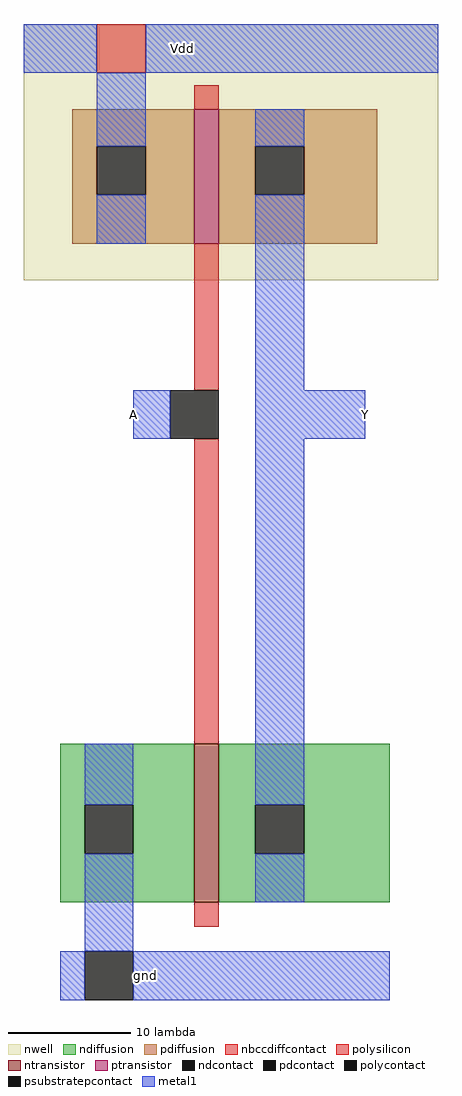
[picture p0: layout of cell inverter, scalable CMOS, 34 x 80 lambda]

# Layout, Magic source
magic
tech scmos
<< nwell >>
rect -12 2 22 23
<< polysilicon >>
rect 2 16 4 18
rect 2 -7 4 5
rect 2 -36 4 -11
rect 2 -51 4 -49
<< ndiffusion >>
rect -9 -41 2 -36
rect -9 -45 -7 -41
rect -3 -45 2 -41
rect -9 -49 2 -45
rect 4 -41 18 -36
rect 4 -45 7 -41
rect 11 -45 18 -41
rect 4 -49 18 -45
<< pdiffusion >>
rect -8 13 2 16
rect -8 9 -6 13
rect -2 9 2 13
rect -8 5 2 9
rect 4 13 17 16
rect 4 9 7 13
rect 11 9 17 13
rect 4 5 17 9
<< metal1 >>
rect -12 19 -6 23
rect -2 19 22 23
rect -6 13 -2 19
rect -6 5 -2 9
rect 7 13 11 16
rect 7 -7 11 9
rect -3 -11 0 -7
rect 7 -11 16 -7
rect -7 -41 -3 -36
rect -7 -53 -3 -45
rect 7 -41 11 -11
rect 7 -49 11 -45
rect -9 -57 -7 -53
rect -3 -57 18 -53
<< ntransistor >>
rect 2 -49 4 -36
<< ptransistor >>
rect 2 5 4 16
<< polycontact >>
rect 0 -11 4 -7
<< ndcontact >>
rect -7 -45 -3 -41
rect 7 -45 11 -41
<< pdcontact >>
rect -6 9 -2 13
rect 7 9 11 13
<< nbccdiffcontact >>
rect -6 19 -2 23
<< psubstratepcontact >>
rect -7 -57 -3 -53
<< labels >>
rlabel metal1 -3 -11 -3 -7 1 A
rlabel metal1 16 -11 16 -7 1 Y
rlabel metal1 1 21 1 21 5 Vdd
rlabel metal1 -2 -55 -2 -55 1 gnd
<< end >>
